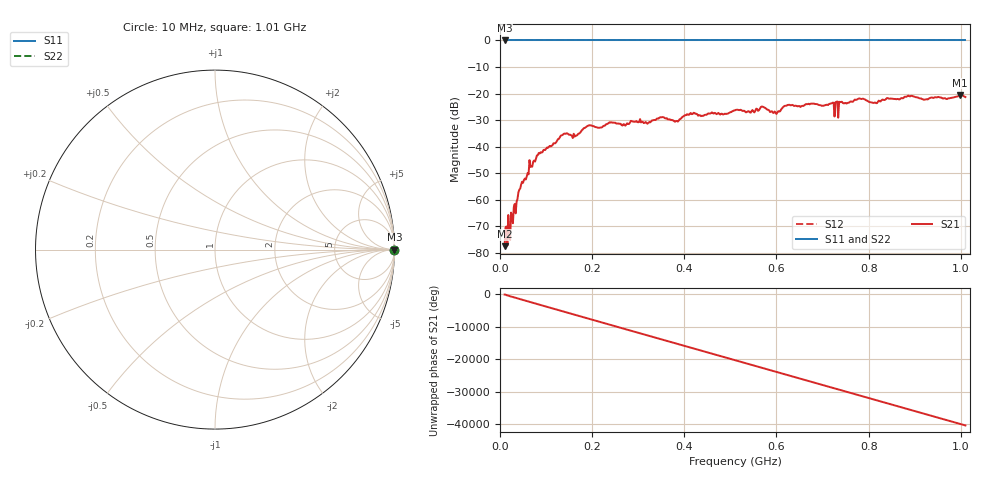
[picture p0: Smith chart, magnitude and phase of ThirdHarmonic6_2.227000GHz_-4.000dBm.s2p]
! 8/17/2025 2:30:17 AM
! C:\ANRITSUVNA\TEMP\TEMP.S2P
! CHANNEL.1
! TR.MEASUREMENT
! RAW.DATA
! RF.CORRECTION.OFF
! AVERAGING.OFF
! IF.BANDWIDTH: 5KHZ
! SWEEPTYPE:  FREQ.SWEEP(Linear)
! Reference Plane Port Info
! PORT:  PORT1  PORT2
! DISTANCE:  0  m  0  m
! TIME:  0  s  0  s
! PHASE.OFFSET:  0  deg.  0  deg.
! LOSS:  0  dB  0  dB
! REF.LOSS:  0  dB  0  dB
! REF.FREQ:  0  Hz  0  Hz
! Power Info
! POWER:  -20  dBm  -20  dBm
! EFF.POWER:  -20  dBm  -20  dBm
! SOURCE.ATTEN:  0  dB  0  dB
! TEST.ATTEN:  0  dB  0  dB
# GHZ S RI R 50.0
! FREQ.GHZ  S11RE  S11IM  S21RE  S21IM  S12RE  S12IM  S22RE  S22IM
!; PortSelection: Port_12
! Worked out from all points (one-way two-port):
!   501 points, 10 MHz to 1.01 GHz, reference 50 ohm
!   highest |S21| = -20.59 dB at 998 MHz (marker M1); lowest = -77.5 dB at 10 MHz (marker M2)
!   lowest |S11| = 0.0 dB at 10 MHz (marker M3)
!   |S11| at or under -10 dB: nowhere
!   |S22| runs from 0.0 to 0.0 dB; largest |S21 - S12| = 1.1
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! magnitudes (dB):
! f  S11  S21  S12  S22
! 10 MHz  0.0  -77.5  0.0  0.0
! 24 MHz  0.0  -64.9  0.0  0.0
! 28 MHz  0.0  -68.9  0.0  0.0
! 44 MHz  0.0  -55.8  0.0  0.0
! 84 MHz  0.0  -42.4  0.0  0.0
! 136 MHz  0.0  -35.6  0.0  0.0
! 162 MHz  0.0  -36.3  0.0  0.0
! 178 MHz  0.0  -33.8  0.0  0.0
! 344 MHz  0.0  -29.5  0.0  0.0
! 382 MHz  0.0  -30.4  0.0  0.0
! 416 MHz  0.0  -27.8  0.0  0.0
! 510 MHz  0.0  -26.3  0.0  0.0
! 570 MHz  0.0  -25.0  0.0  0.0
! 598 MHz  0.0  -27.2  0.0  0.0
! 622 MHz  0.0  -24.6  0.0  0.0
! 678 MHz  0.0  -23.8  0.0  0.0
! 730 MHz  0.0  -23.1  0.0  0.0
! 778 MHz  0.0  -21.9  0.0  0.0
! 814 MHz  0.0  -23.4  0.0  0.0
! 844 MHz  0.0  -21.9  0.0  0.0
! 998 MHz  0.0  -20.6  0.0  0.0
! 1.01 GHz  0.0  -21.3  0.0  0.0
